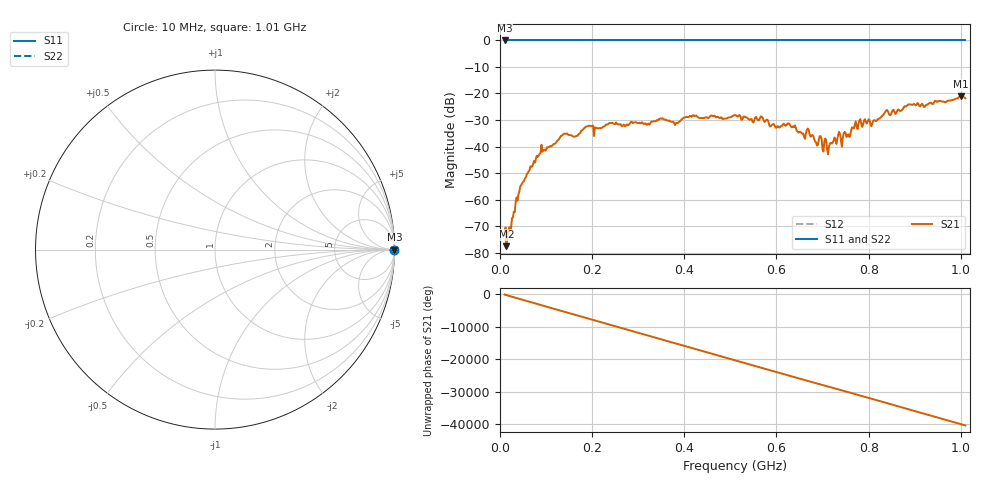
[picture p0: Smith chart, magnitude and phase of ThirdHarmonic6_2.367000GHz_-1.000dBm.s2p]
! 8/17/2025 3:40:45 AM
! C:\ANRITSUVNA\TEMP\TEMP.S2P
! CHANNEL.1
! TR.MEASUREMENT
! RAW.DATA
! RF.CORRECTION.OFF
! AVERAGING.OFF
! IF.BANDWIDTH: 5KHZ
! SWEEPTYPE:  FREQ.SWEEP(Linear)
! Reference Plane Port Info
! PORT:  PORT1  PORT2
! DISTANCE:  0  m  0  m
! TIME:  0  s  0  s
! PHASE.OFFSET:  0  deg.  0  deg.
! LOSS:  0  dB  0  dB
! REF.LOSS:  0  dB  0  dB
! REF.FREQ:  0  Hz  0  Hz
! Power Info
! POWER:  -20  dBm  -20  dBm
! EFF.POWER:  -20  dBm  -20  dBm
! SOURCE.ATTEN:  0  dB  0  dB
! TEST.ATTEN:  0  dB  0  dB
# GHZ S RI R 50.0
! FREQ.GHZ  S11RE  S11IM  S21RE  S21IM  S12RE  S12IM  S22RE  S22IM
!; PortSelection: Port_12
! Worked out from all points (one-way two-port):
!   501 points, 10 MHz to 1.01 GHz, reference 50 ohm
!   highest |S21| = -21.13 dB at 1 GHz (marker M1); lowest = -77.6 dB at 14 MHz (marker M2)
!   lowest |S11| = 0.0 dB at 10 MHz (marker M3)
!   |S11| at or under -10 dB: nowhere
!   |S22| runs from 0.0 to 0.0 dB; largest |S21 - S12| = 1.1
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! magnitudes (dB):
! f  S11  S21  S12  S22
! 10 MHz  0.0  -72.7  0.0  0.0
! 14 MHz  0.0  -77.6  0.0  0.0
! 18 MHz  0.0  -72.7  0.0  0.0
! 46 MHz  0.0  -54.6  0.0  0.0
! 86 MHz  0.0  -42.8  0.0  0.0
! 136 MHz  0.0  -35.6  0.0  0.0
! 178 MHz  0.0  -33.9  0.0  0.0
! 344 MHz  0.0  -29.9  0.0  0.0
! 382 MHz  0.0  -31.2  0.0  0.0
! 416 MHz  0.0  -28.8  0.0  0.0
! 510 MHz  0.0  -28.1  0.0  0.0
! 568 MHz  0.0  -28.7  0.0  0.0
! 602 MHz  0.0  -32.3  0.0  0.0
! 626 MHz  0.0  -31.3  0.0  0.0
! 678 MHz  0.0  -35.7  0.0  0.0
! 714 MHz  0.0  -40.1  0.0  0.0
! 736 MHz  0.0  -34.5  0.0  0.0
! 756 MHz  0.0  -35.4  0.0  0.0
! 768 MHz  0.0  -33.1  0.0  0.0
! 844 MHz  0.0  -27.7  0.0  0.0
! 1 GHz  0.0  -21.1  0.0  0.0
! 1.01 GHz  0.0  -21.8  0.0  0.0
